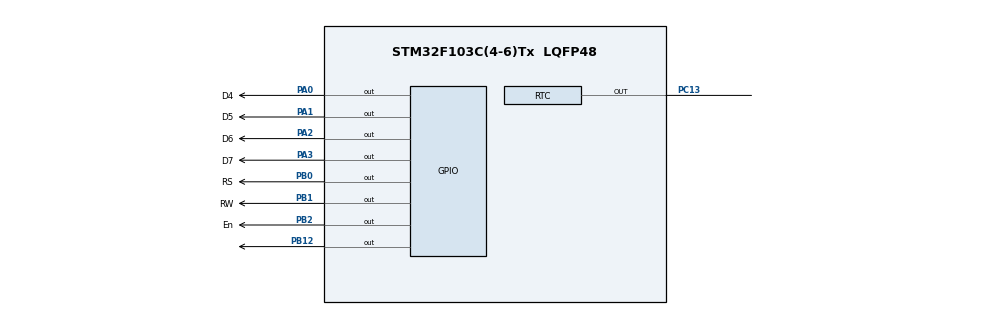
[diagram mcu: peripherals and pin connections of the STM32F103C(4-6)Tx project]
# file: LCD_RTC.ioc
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Mcu.Family=STM32F1
Mcu.Name=STM32F103C(4-6)Tx
Mcu.Package=LQFP48
NVIC.PriorityGroup=NVIC_PRIORITYGROUP_4
NVIC.RTC_Alarm_IRQn=true\:0\:0\:false\:false\:true\:true\:true\:true
PA0-WKUP.GPIO_Label=D4
PA0-WKUP.Signal=GPIO_Output
PA1.GPIO_Label=D5
PA1.Signal=GPIO_Output
PA2.GPIO_Label=D6
PA2.Signal=GPIO_Output
PA3.GPIO_Label=D7
PA3.Signal=GPIO_Output
PB0.GPIO_Label=RS
PB0.Signal=GPIO_Output
PB1.GPIO_Label=RW
PB1.Signal=GPIO_Output
PB12.Signal=GPIO_Output
PB2.GPIO_Label=En
PB2.Signal=GPIO_Output
PC13-TAMPER-RTC.Mode=RTC OUT
PC13-TAMPER-RTC.Signal=RTC_OUT
ProjectManager.HeapSize=0x200
ProjectManager.StackSize=0x400
ProjectManager.TargetToolchain=STM32CubeIDE
RCC.APB1Freq_Value=8000000
RCC.APB2Freq_Value=8000000
RTC.Date=20
RTC.Hours=1
RTC.Hours_A-RTC\ OUT=1
RTC.Month=RTC_MONTH_NOVEMBER
RTC.Seconds_A-RTC\ OUT=14
RTC.Year=23
VP_RTC_VS_RTC_Activate.Mode=RTC_Enabled
VP_RTC_VS_RTC_Calendar.Mode=RTC_Calendar
board=custom

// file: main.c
/* USER CODE BEGIN Header */
/**
  ******************************************************************************
  * @file           : main.c
  * @brief          : Main program body
  ******************************************************************************
  * @attention
  *
  * Copyright (c) 2023 STMicroelectronics.
  * All rights reserved.
  *
  * This software is licensed under terms that can be found in the LICENSE file
  * in the root directory of this software component.
  * If no LICENSE file comes with this software, it is provided AS-IS.
  *
  ******************************************************************************
  */
/* USER CODE END Header */
#include "main.h"
#include "stdio.h"
/* USER CODE BEGIN Includes */
void lcd_init(void);
void send_command(uint8_t data);
void send_Idata(uint8_t data);
void send_data(uint8_t data);
void lcd_puts(uint8_t *str);
void lcd_clear(void);
void lcd_gotoxy(uint8_t x, uint8_t y);
/* USER CODE END Includes */

RTC_HandleTypeDef hrtc;

/* USER CODE BEGIN PV */
RTC_TimeTypeDef gTime={0};
RTC_DateTypeDef gDate={0};
RTC_AlarmTypeDef gAlarm={0};
/* USER CODE END PV */

void SystemClock_Config(void);
static void MX_GPIO_Init(void);
static void MX_RTC_Init(void);

/* USER CODE BEGIN 0 */
void lcd_init(void)
{
  HAL_Delay(2);
  send_command(0x02);
  send_command(0x28);
  send_command(0x0F);
}

void send_command(uint8_t data)
{
	HAL_Delay(2);
	HAL_GPIO_WritePin(GPIOB,GPIO_PIN_0,GPIO_PIN_RESET);
	HAL_GPIO_WritePin(GPIOB,GPIO_PIN_1,GPIO_PIN_RESET);

	send_Idata(data >>4);
	send_Idata(data);

}

void send_Idata(uint8_t data)
{
	HAL_Delay(10);
	int temp[4];

	for (int i=0; i<4;i++)
	{

		temp[i]=data%2;
		data=data>>1;

	}

	HAL_GPIO_WritePin(GPIOA,GPIO_PIN_0,temp[0]);
	HAL_GPIO_WritePin(GPIOA,GPIO_PIN_1,temp[1]);
	HAL_GPIO_WritePin(GPIOA,GPIO_PIN_2,temp[2]);
	HAL_GPIO_WritePin(GPIOA,GPIO_PIN_3,temp[3]);

	HAL_GPIO_WritePin(GPIOB,GPIO_PIN_2,GPIO_PIN_SET);
	HAL_Delay(2);
	HAL_GPIO_WritePin(GPIOB,GPIO_PIN_2,GPIO_PIN_RESET);

}

void send_data(uint8_t data)
{
	HAL_Delay(2);
	HAL_GPIO_WritePin(GPIOB,GPIO_PIN_0,GPIO_PIN_SET);
	HAL_GPIO_WritePin(GPIOB,GPIO_PIN_1,GPIO_PIN_RESET);

	send_Idata(data >>4);

	send_Idata(data);

}

void lcd_puts(uint8_t *str)
{
  HAL_Delay(2);
  while(*str !=0x00)
  {
	  send_data(*str);
    str++;
  }
}

void lcd_clear(void)
{
  HAL_Delay(1);
  send_command(0x01);

}

void lcd_gotoxy(uint8_t x, uint8_t y)
{
  HAL_Delay(1);

    switch(y){
    case 0:
      send_command( 0x80 + x );
    break;
    case 1:
      send_command( 0xC0 + x );
      break;

  }
}

/* USER CODE END 0 */

int main(void)
{
  /* USER CODE BEGIN 1 */
//int counter=0;
//uint8_t str[32];
char buffer_1[30];

  /* USER CODE END 1 */

  /* MCU Configuration--------------------------------------------------------*/

  /* Reset of all peripherals, Initializes the Flash interface and the Systick. */
  HAL_Init();

  /* Configure the system clock */
  SystemClock_Config();

  /* Initialize all configured peripherals */
  MX_GPIO_Init();
  MX_RTC_Init();
  /* USER CODE BEGIN 2 */
  lcd_init();
  //sprintf(str,"counter=%d",counter);
  //lcd_puts((uint8_t *) "WELLCOME");

  /* USER CODE END 2 */

  /* Infinite loop */
  while (1)
  {

    /* USER CODE BEGIN 3 */
	  HAL_RTC_GetTime(&hrtc,&gTime,RTC_FORMAT_BCD);
	  HAL_RTC_GetDate(&hrtc,&gDate,RTC_FORMAT_BCD);
	  HAL_RTC_GetAlarm(&hrtc,&gAlarm,RTC_ALARM_A,RTC_FORMAT_BCD);
	  sprintf(buffer_1,"Time:%02u:%02u:%02u",gTime.Hours,gTime.Minutes,gTime.Seconds);
	  lcd_gotoxy(0, 0);
	  lcd_puts(buffer_1);
	  sprintf(buffer_1,"Alarm:%02u:%02u:%02u",gAlarm.AlarmTime.Hours,gAlarm.AlarmTime.Minutes,gAlarm.AlarmTime.Seconds);
	  lcd_gotoxy(0, 1);
	  lcd_puts(buffer_1);
	  HAL_Delay(200);
  }
  /* USER CODE END 3 */
}

void SystemClock_Config(void)
{
  RCC_OscInitTypeDef RCC_OscInitStruct = {0};
  RCC_ClkInitTypeDef RCC_ClkInitStruct = {0};
  RCC_PeriphCLKInitTypeDef PeriphClkInit = {0};

  /** Initializes the RCC Oscillators according to the specified parameters
  * in the RCC_OscInitTypeDef structure.
  */
  RCC_OscInitStruct.OscillatorType = RCC_OSCILLATORTYPE_HSI|RCC_OSCILLATORTYPE_LSI;
  RCC_OscInitStruct.HSIState = RCC_HSI_ON;
  RCC_OscInitStruct.HSICalibrationValue = RCC_HSICALIBRATION_DEFAULT;
  RCC_OscInitStruct.LSIState = RCC_LSI_ON;
  RCC_OscInitStruct.PLL.PLLState = RCC_PLL_NONE;
  if (HAL_RCC_OscConfig(&RCC_OscInitStruct) != HAL_OK)
  {
    Error_Handler();
  }

  /** Initializes the CPU, AHB and APB buses clocks
  */
  RCC_ClkInitStruct.ClockType = RCC_CLOCKTYPE_HCLK|RCC_CLOCKTYPE_SYSCLK
                              |RCC_CLOCKTYPE_PCLK1|RCC_CLOCKTYPE_PCLK2;
  RCC_ClkInitStruct.SYSCLKSource = RCC_SYSCLKSOURCE_HSI;
  RCC_ClkInitStruct.AHBCLKDivider = RCC_SYSCLK_DIV1;
  RCC_ClkInitStruct.APB1CLKDivider = RCC_HCLK_DIV1;
  RCC_ClkInitStruct.APB2CLKDivider = RCC_HCLK_DIV1;

  if (HAL_RCC_ClockConfig(&RCC_ClkInitStruct, FLASH_LATENCY_0) != HAL_OK)
  {
    Error_Handler();
  }
  PeriphClkInit.PeriphClockSelection = RCC_PERIPHCLK_RTC;
  PeriphClkInit.RTCClockSelection = RCC_RTCCLKSOURCE_LSI;
  if (HAL_RCCEx_PeriphCLKConfig(&PeriphClkInit) != HAL_OK)
  {
    Error_Handler();
  }
}

static void MX_RTC_Init(void)
{

  RTC_TimeTypeDef sTime = {0};
  RTC_DateTypeDef DateToUpdate = {0};
  RTC_AlarmTypeDef sAlarm = {0};

  /** Initialize RTC Only
  */
  hrtc.Instance = RTC;
  hrtc.Init.AsynchPrediv = RTC_AUTO_1_SECOND;
  hrtc.Init.OutPut = RTC_OUTPUTSOURCE_ALARM;
  if (HAL_RTC_Init(&hrtc) != HAL_OK)
  {
    Error_Handler();
  }

  /** Initialize RTC and set the Time and Date
  */
  sTime.Hours = 0x1;
  sTime.Minutes = 0x0;
  sTime.Seconds = 0x0;

  if (HAL_RTC_SetTime(&hrtc, &sTime, RTC_FORMAT_BCD) != HAL_OK)
  {
    Error_Handler();
  }
  DateToUpdate.WeekDay = RTC_WEEKDAY_MONDAY;
  DateToUpdate.Month = RTC_MONTH_NOVEMBER;
  DateToUpdate.Date = 0x20;
  DateToUpdate.Year = 0x23;

  if (HAL_RTC_SetDate(&hrtc, &DateToUpdate, RTC_FORMAT_BCD) != HAL_OK)
  {
    Error_Handler();
  }

  /** Enable the Alarm A
  */
  sAlarm.AlarmTime.Hours = 0x1;
  sAlarm.AlarmTime.Minutes = 0x0;
  sAlarm.AlarmTime.Seconds = 0x14;
  sAlarm.Alarm = RTC_ALARM_A;
  if (HAL_RTC_SetAlarm_IT(&hrtc, &sAlarm, RTC_FORMAT_BCD) != HAL_OK)
  {
    Error_Handler();
  }

}

static void MX_GPIO_Init(void)
{
  GPIO_InitTypeDef GPIO_InitStruct = {0};

  /* GPIO Ports Clock Enable */
  __HAL_RCC_GPIOC_CLK_ENABLE();
  __HAL_RCC_GPIOA_CLK_ENABLE();
  __HAL_RCC_GPIOB_CLK_ENABLE();

  /*Configure GPIO pin Output Level */
  HAL_GPIO_WritePin(GPIOA, D4_Pin|D5_Pin|D6_Pin|D7_Pin, GPIO_PIN_RESET);

  /*Configure GPIO pin Output Level */
  HAL_GPIO_WritePin(GPIOB, RS_Pin|RW_Pin|En_Pin|GPIO_PIN_12, GPIO_PIN_RESET);

  /*Configure GPIO pins : D4_Pin D5_Pin D6_Pin D7_Pin */
  GPIO_InitStruct.Pin = D4_Pin|D5_Pin|D6_Pin|D7_Pin;
  GPIO_InitStruct.Mode = GPIO_MODE_OUTPUT_PP;
  GPIO_InitStruct.Pull = GPIO_NOPULL;
  GPIO_InitStruct.Speed = GPIO_SPEED_FREQ_LOW;
  HAL_GPIO_Init(GPIOA, &GPIO_InitStruct);

  /*Configure GPIO pins : RS_Pin RW_Pin En_Pin PB12 */
  GPIO_InitStruct.Pin = RS_Pin|RW_Pin|En_Pin|GPIO_PIN_12;
  GPIO_InitStruct.Mode = GPIO_MODE_OUTPUT_PP;
  GPIO_InitStruct.Pull = GPIO_NOPULL;
  GPIO_InitStruct.Speed = GPIO_SPEED_FREQ_LOW;
  HAL_GPIO_Init(GPIOB, &GPIO_InitStruct);

}

/* USER CODE BEGIN 4 */
void HAL_RTC_AlarmAEventCallback(RTC_HandleTypeDef *hrtc){
	UNUSED(hrtc);
	HAL_GPIO_WritePin(GPIOB, GPIO_PIN_12,GPIO_PIN_SET);
}
/* USER CODE END 4 */

void Error_Handler(void)
{
  __disable_irq();
  while (1)
  {
  }
}
